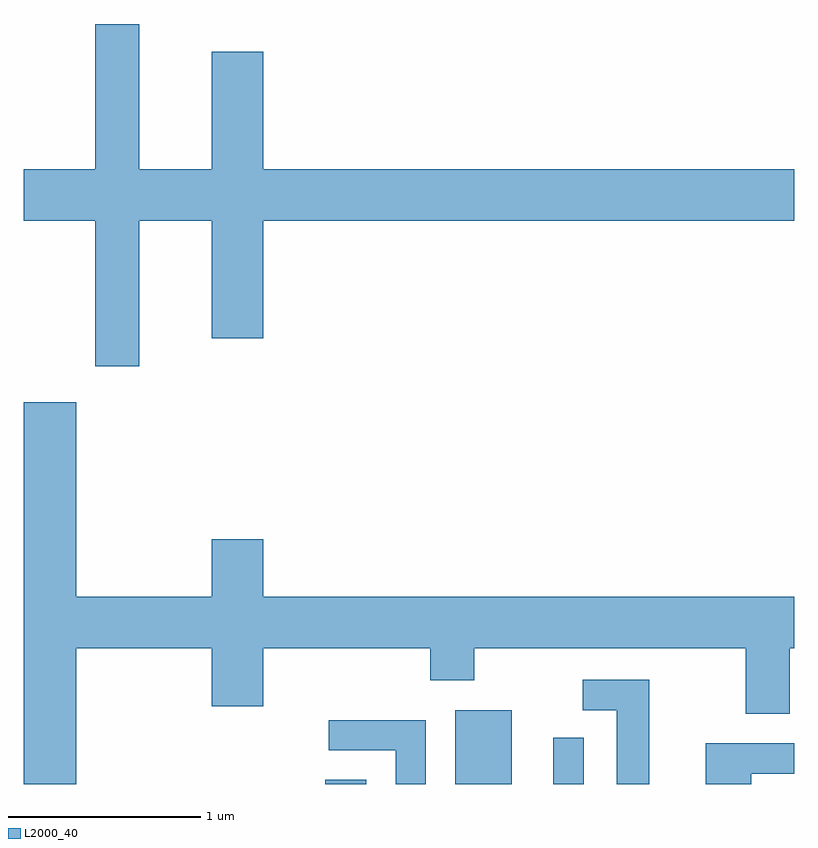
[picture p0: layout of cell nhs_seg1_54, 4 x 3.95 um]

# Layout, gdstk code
import gdstk
lib = gdstk.Library(unit=1e-6, precision=1e-09)
def R(c, l, rs):  # rectangles x0, y0, x1, y1
    for r in rs: c.add(gdstk.rectangle(r[:2], r[2:], *l))
def P(c, l, *ps):  # polygons
    for p in ps: c.add(gdstk.Polygon(p, *l))
L2000_40 = (2000, 40)

nhs_seg1_54 = lib.new_cell('nhs_seg1_54')
R(nhs_seg1_54, L2000_40, [(187.176,947.712,187.389,947.734), (187.851,947.712,188.144,948.094), (188.361,947.712,188.519,947.953)])
P(nhs_seg1_54, L2000_40, [(186.209,950.636),(186.586,950.636),(186.586,950.026),(186.854,950.026),(186.854,950.636),(189.611,950.636),(189.611,950.904),(186.854,950.904),(186.854,951.514),(186.586,951.514),(186.586,950.904),(186.209,950.904),(186.209,951.659),(185.981,951.659),(185.981,950.904),(185.611,950.904),(185.611,950.636),(185.981,950.636),(185.981,949.881),(186.209,949.881)],
  [(185.884,948.416),(186.586,948.416),(186.586,948.116),(186.854,948.116),(186.854,948.416),(187.721,948.416),(187.721,948.251),(187.949,948.251),(187.949,948.416),(189.361,948.416),(189.361,948.076),(189.589,948.076),(189.589,948.416),(189.611,948.416),(189.611,948.684),(186.854,948.684),(186.854,948.984),(186.586,948.984),(186.586,948.684),(185.884,948.684),(185.884,949.694),(185.611,949.694),(185.611,947.712),(185.884,947.712)],
  [(188.859,948.254),(188.513,948.254),(188.513,948.096),(188.691,948.096),(188.691,947.712),(188.859,947.712)],
  [(187.699,948.044),(187.193,948.044),(187.193,947.886),(187.541,947.886),(187.541,947.712),(187.699,947.712)],
  [(189.389,947.766),(189.611,947.766),(189.611,947.924),(189.151,947.924),(189.151,947.712),(189.389,947.712)])

lib.write_gds('nhs_seg1_54.gds')
